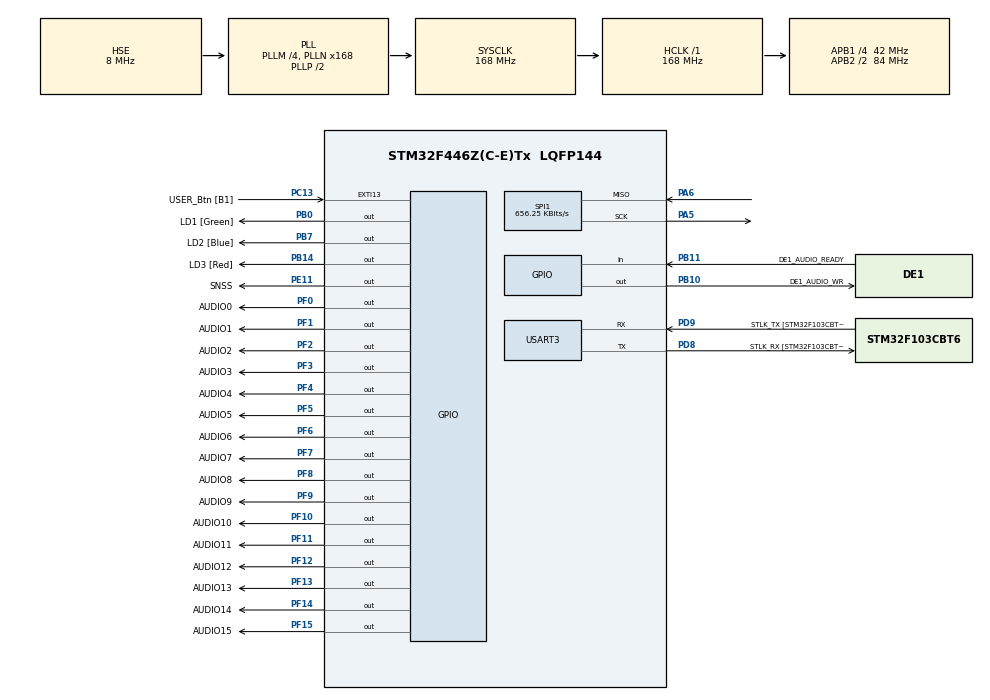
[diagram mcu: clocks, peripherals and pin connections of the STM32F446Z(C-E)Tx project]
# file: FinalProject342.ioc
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Mcu.Family=STM32F4
Mcu.Name=STM32F446Z(C-E)Tx
Mcu.Package=LQFP144
NVIC.PriorityGroup=NVIC_PRIORITYGROUP_4
PA10.GPIO_Label=USB_ID
PA10.Signal=USB_OTG_FS_ID
PA11.GPIO_Label=USB_DM
PA11.Signal=USB_OTG_FS_DM
PA12.GPIO_Label=USB_DP
PA12.Signal=USB_OTG_FS_DP
PA13.GPIO_Label=TMS
PA13.Mode=Serial_Wire
PA13.Signal=SYS_JTMS-SWDIO
PA14.GPIO_Label=TCK
PA14.Mode=Serial_Wire
PA14.Signal=SYS_JTCK-SWCLK
PA5.Mode=RX_Only_Simplex_Unidirect_Master
PA5.Signal=SPI1_SCK
PA6.Mode=RX_Only_Simplex_Unidirect_Master
PA6.Signal=SPI1_MISO
PA8.GPIO_Label=USB_SOF [TP1]
PA8.Signal=USB_OTG_FS_SOF
PA9.GPIO_Label=USB_VBUS
PA9.Signal=USB_OTG_FS_VBUS
PB0.GPIO_Label=LD1 [Green]
PB0.Signal=GPIO_Output
PB10.GPIO_Label=DE1_AUDIO_WR
PB10.GPIO_ModeDefaultOutputPP=GPIO_MODE_OUTPUT_OD
PB10.GPIO_PuPd=GPIO_NOPULL
PB10.GPIO_Speed=GPIO_SPEED_FREQ_VERY_HIGH
PB10.Signal=GPIO_Output
PB11.GPIO_Label=DE1_AUDIO_READY
PB11.Signal=GPIO_Input
PB14.GPIO_Label=LD3 [Red]
PB14.Signal=GPIO_Output
PB7.GPIO_Label=LD2 [Blue]
PB7.Signal=GPIO_Output
PC13.GPIO_Label=USER_Btn [B1]
PC13.Signal=GPXTI13
PC14-OSC32_IN.Mode=LSE-External-Oscillator
PC14-OSC32_IN.Signal=RCC_OSC32_IN
PC15-OSC32_OUT.Mode=LSE-External-Oscillator
PC15-OSC32_OUT.Signal=RCC_OSC32_OUT
PD8.GPIO_Label=STLK_RX [STM32F103CBT6_PA3]
PD8.Mode=Asynchronous
PD8.Signal=USART3_TX
PD9.GPIO_Label=STLK_TX [STM32F103CBT6_PA2]
PD9.Mode=Asynchronous
PD9.Signal=USART3_RX
PE11.GPIO_Label=SNSS
PE11.GPIO_ModeDefaultOutputPP=GPIO_MODE_OUTPUT_OD
PE11.GPIO_PuPd=GPIO_NOPULL
PE11.GPIO_Speed=GPIO_SPEED_FREQ_VERY_HIGH
PE11.Signal=GPIO_Output
PF0.GPIO_Label=AUDIO0
PF0.GPIO_ModeDefaultOutputPP=GPIO_MODE_OUTPUT_OD
PF0.GPIO_PuPd=GPIO_NOPULL
PF0.GPIO_Speed=GPIO_SPEED_FREQ_VERY_HIGH
PF0.Signal=GPIO_Output
PF1.GPIO_Label=AUDIO1
PF1.GPIO_ModeDefaultOutputPP=GPIO_MODE_OUTPUT_OD
PF1.GPIO_PuPd=GPIO_NOPULL
PF1.GPIO_Speed=GPIO_SPEED_FREQ_VERY_HIGH
PF1.Signal=GPIO_Output
PF10.GPIO_Label=AUDIO10
PF10.GPIO_ModeDefaultOutputPP=GPIO_MODE_OUTPUT_OD
PF10.GPIO_PuPd=GPIO_NOPULL
PF10.GPIO_Speed=GPIO_SPEED_FREQ_VERY_HIGH
PF10.Signal=GPIO_Output
PF11.GPIO_Label=AUDIO11
PF11.GPIO_ModeDefaultOutputPP=GPIO_MODE_OUTPUT_OD
PF11.GPIO_PuPd=GPIO_NOPULL
PF11.GPIO_Speed=GPIO_SPEED_FREQ_VERY_HIGH
PF11.Signal=GPIO_Output
PF12.GPIO_Label=AUDIO12
PF12.GPIO_ModeDefaultOutputPP=GPIO_MODE_OUTPUT_OD
PF12.GPIO_PuPd=GPIO_NOPULL
PF12.GPIO_Speed=GPIO_SPEED_FREQ_VERY_HIGH
PF12.Signal=GPIO_Output
PF13.GPIO_Label=AUDIO13
PF13.GPIO_ModeDefaultOutputPP=GPIO_MODE_OUTPUT_OD
PF13.GPIO_PuPd=GPIO_NOPULL
PF13.GPIO_Speed=GPIO_SPEED_FREQ_VERY_HIGH
PF13.Signal=GPIO_Output
PF14.GPIO_Label=AUDIO14
PF14.GPIO_ModeDefaultOutputPP=GPIO_MODE_OUTPUT_OD
PF14.GPIO_PuPd=GPIO_NOPULL
PF14.GPIO_Speed=GPIO_SPEED_FREQ_VERY_HIGH
PF14.Signal=GPIO_Output
PF15.GPIO_Label=AUDIO15
PF15.GPIO_ModeDefaultOutputPP=GPIO_MODE_OUTPUT_OD
PF15.GPIO_PuPd=GPIO_NOPULL
PF15.GPIO_Speed=GPIO_SPEED_FREQ_VERY_HIGH
PF15.Signal=GPIO_Output
PF2.GPIO_Label=AUDIO2
PF2.GPIO_ModeDefaultOutputPP=GPIO_MODE_OUTPUT_OD
PF2.GPIO_PuPd=GPIO_NOPULL
PF2.GPIO_Speed=GPIO_SPEED_FREQ_VERY_HIGH
PF2.Signal=GPIO_Output
PF3.GPIO_Label=AUDIO3
PF3.GPIO_ModeDefaultOutputPP=GPIO_MODE_OUTPUT_OD
PF3.GPIO_PuPd=GPIO_NOPULL
PF3.GPIO_Speed=GPIO_SPEED_FREQ_VERY_HIGH
PF3.Signal=GPIO_Output
PF4.GPIO_Label=AUDIO4
PF4.GPIO_ModeDefaultOutputPP=GPIO_MODE_OUTPUT_OD
PF4.GPIO_PuPd=GPIO_NOPULL
PF4.GPIO_Speed=GPIO_SPEED_FREQ_VERY_HIGH
PF4.Signal=GPIO_Output
PF5.GPIO_Label=AUDIO5
PF5.GPIO_ModeDefaultOutputPP=GPIO_MODE_OUTPUT_OD
PF5.GPIO_PuPd=GPIO_NOPULL
PF5.GPIO_Speed=GPIO_SPEED_FREQ_VERY_HIGH
PF5.Signal=GPIO_Output
PF6.GPIO_Label=AUDIO6
PF6.GPIO_ModeDefaultOutputPP=GPIO_MODE_OUTPUT_OD
PF6.GPIO_PuPd=GPIO_NOPULL
PF6.GPIO_Speed=GPIO_SPEED_FREQ_VERY_HIGH
PF6.Signal=GPIO_Output
PF7.GPIO_Label=AUDIO7
PF7.GPIO_ModeDefaultOutputPP=GPIO_MODE_OUTPUT_OD
PF7.GPIO_PuPd=GPIO_NOPULL
PF7.GPIO_Speed=GPIO_SPEED_FREQ_VERY_HIGH
PF7.Signal=GPIO_Output
PF8.GPIO_Label=AUDIO8
PF8.GPIO_ModeDefaultOutputPP=GPIO_MODE_OUTPUT_OD
PF8.GPIO_PuPd=GPIO_NOPULL
PF8.GPIO_Speed=GPIO_SPEED_FREQ_VERY_HIGH
PF8.Signal=GPIO_Output
PF9.GPIO_Label=AUDIO9
PF9.GPIO_ModeDefaultOutputPP=GPIO_MODE_OUTPUT_OD
PF9.GPIO_PuPd=GPIO_NOPULL
PF9.GPIO_Speed=GPIO_SPEED_FREQ_VERY_HIGH
PF9.Signal=GPIO_Output
PH0-OSC_IN.GPIO_Label=MCO [STM32F103CBT6_PA8]
PH0-OSC_IN.Mode=HSE-External-Clock-Source
PH0-OSC_IN.Signal=RCC_OSC_IN
PH1-OSC_OUT.Mode=HSE-External-Clock-Source
PH1-OSC_OUT.Signal=RCC_OSC_OUT
ProjectManager.HeapSize=0x200
ProjectManager.StackSize=0x400
ProjectManager.TargetToolchain=STM32CubeIDE
RCC.48MHZClocksFreq_Value=24000000
RCC.AHBFreq_Value=168000000
RCC.APB1CLKDivider=RCC_HCLK_DIV4
RCC.APB1Freq_Value=42000000
RCC.APB1TimFreq_Value=84000000
RCC.APB2CLKDivider=RCC_HCLK_DIV2
RCC.APB2Freq_Value=84000000
RCC.APB2TimFreq_Value=168000000
RCC.CortexFreq_Value=168000000
RCC.HCLKFreq_Value=168000000
RCC.HSE_VALUE=8000000
RCC.HSI_VALUE=16000000
RCC.PLLM=4
RCC.PLLMUL=RCC_PLL_MUL9
RCC.PLLN=168
RCC.PLLQ=7
RCC.PLLSourceVirtual=RCC_PLLSOURCE_HSE
RCC.PRESCALERUSB=RCC_USBCLKSOURCE_PLL_DIV1_5
RCC.SYSCLKFreq_VALUE=168000000
RCC.SYSCLKSource=RCC_SYSCLKSOURCE_PLLCLK
RCC.SYSCLKSourceVirtual=RCC_SYSCLKSOURCE_PLLCLK
RCC.USBFreq_Value=48000000
RCC.VCOOutputFreq_Value=336000000
SPI1.BaudRatePrescaler=SPI_BAUDRATEPRESCALER_128
SPI1.CLKPhase=SPI_PHASE_1EDGE
SPI1.CLKPolarity=SPI_POLARITY_LOW
SPI1.CalculateBaudRate=656.25 KBits/s
SPI1.DataSize=SPI_DATASIZE_16BIT
SPI1.Direction=SPI_DIRECTION_2LINES_RXONLY
SPI1.FirstBit=SPI_FIRSTBIT_MSB
SPI1.Mode=SPI_MODE_MASTER
SPI1.VirtualType=VM_MASTER
TIM1.AutoReloadPreload=TIM_AUTORELOAD_PRELOAD_ENABLE
TIM1.Period=0xffff-1
TIM1.Prescaler=72-1
USART3.VirtualMode=VM_ASYNC
VP_TIM1_VS_ClockSourceINT.Mode=Internal
board=NUCLEO-F446ZE

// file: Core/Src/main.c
/* USER CODE BEGIN Header */
/**
  ******************************************************************************
  * @file           : main.c
  * @brief          : Main program body
  ******************************************************************************
  * @attention
  *
  * Copyright (c) 2023 STMicroelectronics.
  * All rights reserved.
  *
  * This software is licensed under terms that can be found in the LICENSE file
  * in the root directory of this software component.
  * If no LICENSE file comes with this software, it is provided AS-IS.
  *
  ******************************************************************************
  */
/* USER CODE END Header */
#include "main.h"

/* USER CODE BEGIN Includes */
#include <stdio.h>
#include <string.h>
//#include "usb_host.h"
//#include "fatfs.h"
//#include "usb_conf.h"
/* USER CODE END Includes */

SPI_HandleTypeDef hspi1;

TIM_HandleTypeDef htim1;

UART_HandleTypeDef huart3;

void SystemClock_Config(void);
static void MX_GPIO_Init(void);
static void MX_USART3_UART_Init(void);
static void MX_SPI1_Init(void);
static void MX_TIM1_Init(void);

/* USER CODE BEGIN 0 */

#define PIN_LOW_BSSR(pin) ((uint32_t)pin << 16U)
#define PIN_HIGH_BSSR(pin) (pin)

void delay_us(uint16_t us)
{
	__HAL_TIM_SET_COUNTER(&htim1, 0);
	while (__HAL_TIM_GET_COUNTER(&htim1) < us);
}

int16_t get_spi_word(void)
{
	uint16_t data;

	// hal_readpin(), hal_spi_receive() etc. are miserably slow.
	// This code does the same thing faster

	SNSS_GPIO_Port->BSRR = PIN_LOW_BSSR(SNSS_Pin); // write_pin(low)

	hspi1.State       = HAL_SPI_STATE_BUSY_RX;
	hspi1.ErrorCode   = HAL_SPI_ERROR_NONE;
	hspi1.pRxBuffPtr  = (uint8_t *)&data;
	hspi1.RxXferSize  = 1;
	hspi1.RxXferCount = 1;
	hspi1.pTxBuffPtr  = (uint8_t *)NULL;
	hspi1.TxXferSize  = 0U;
	hspi1.TxXferCount = 0U;
	hspi1.RxISR       = NULL;
	hspi1.TxISR       = NULL;

	__HAL_SPI_ENABLE(&hspi1);
	while (!__HAL_SPI_GET_FLAG(&hspi1, SPI_FLAG_RXNE)); // wait for data

	data = (uint16_t)hspi1.Instance->DR;
	hspi1.pRxBuffPtr += sizeof(uint16_t);
	hspi1.RxXferCount--;

	__HAL_SPI_DISABLE(&hspi1);
	while (__HAL_SPI_GET_FLAG(&hspi1, SPI_FLAG_RXNE)); // wait for buffer clear

	SNSS_GPIO_Port->BSRR = PIN_HIGH_BSSR(SNSS_Pin); // write_pin(high)

	hspi1.State = HAL_SPI_STATE_READY;

	//SNSS_GPIO_Port->BSRR = PIN_LOW_BSSR(SNSS_Pin);
	//while(hspi1.State == HAL_SPI_STATE_BUSY);
	//HAL_SPI_Receive(&hspi1, &data[1], 1, 100);
	//SNSS_GPIO_Port->BSRR = PIN_HIGH_BSSR(SNSS_Pin);

	// sign extend!
	uint16_t ext_data = (data & 0xFFF) | ((data & 0x800) ? 0xF000 : 0);
	//uint16_t data16 = (uint16_t)(data[0] << 8) | data[1];
	//uint16_t ext_data = (data16 & 0xFFF) | ((data16 & 0x800) ? 0xF000 : 0);
	return (int16_t)ext_data;
}

/* USER CODE END 0 */

int main(void)
{

  /* MCU Configuration--------------------------------------------------------*/

  /* Reset of all peripherals, Initializes the Flash interface and the Systick. */
  HAL_Init();

  /* Configure the system clock */
  SystemClock_Config();

  /* Initialize all configured peripherals */
  MX_GPIO_Init();
  MX_USART3_UART_Init();
  MX_SPI1_Init();
  MX_TIM1_Init();
  /* USER CODE BEGIN 2 */

  HAL_TIM_Base_Start(&htim1);
  //int strindex = 0;
  //char strbuf[6000];
  //char strbuf2[100];

  //set CS initially to:
  //HAL_GPIO_WritePin(SNSS_GPIO_Port, SNSS_Pin, GPIO_PIN_SET); // NSS1 Default Set

  //DE1 GPIO data to send
  //HAL_GPIO_WritePin(AUDIO_READY_GPIO_PORT, AUDIO_READY, GPIO_PIN_RESET);
  //HAL_GPIO_WritePin(AUDIO_CLEAR_BUF_GPIO_PORT, AUDIO_CLEAR_BUF, GPIO_PIN_RESET); //set to 0 before sending every NUMVALS

  /*
  HAL_GPIO_WritePin(AUDIO_GPIO_PINS_0_3_PORT, AUDIO_GPIO_0, GPIO_PIN_RESET);
  HAL_GPIO_WritePin(AUDIO_GPIO_PINS_0_3_PORT, AUDIO_GPIO_1, GPIO_PIN_RESET);
  HAL_GPIO_WritePin(AUDIO_GPIO_PINS_0_3_PORT, AUDIO_GPIO_2, GPIO_PIN_RESET);
  HAL_GPIO_WritePin(AUDIO_GPIO_PINS_0_3_PORT, AUDIO_GPIO_3, GPIO_PIN_RESET);

  HAL_GPIO_WritePin(AUDIO_GPIO_PINS_4_8_PORT, AUDIO_GPIO_4, GPIO_PIN_RESET);
  HAL_GPIO_WritePin(AUDIO_GPIO_PINS_4_8_PORT, AUDIO_GPIO_5, GPIO_PIN_RESET);
  HAL_GPIO_WritePin(AUDIO_GPIO_PINS_4_8_PORT, AUDIO_GPIO_6, GPIO_PIN_RESET);
  HAL_GPIO_WritePin(AUDIO_GPIO_PINS_4_8_PORT, AUDIO_GPIO_7, GPIO_PIN_RESET);

  HAL_GPIO_WritePin(AUDIO_GPIO_PINS_4_8_PORT, AUDIO_GPIO_8, GPIO_PIN_RESET);
  HAL_GPIO_WritePin(AUDIO_GPIO_PINS_9_11_PORT, AUDIO_GPIO_9, GPIO_PIN_RESET);
  HAL_GPIO_WritePin(AUDIO_GPIO_PINS_9_11_PORT, AUDIO_GPIO_10, GPIO_PIN_RESET);
  HAL_GPIO_WritePin(AUDIO_GPIO_PINS_9_11_PORT, AUDIO_GPIO_11, GPIO_PIN_RESET);

  HAL_GPIO_WritePin(AUDIO_GPIO_PIN_12_PORT, AUDIO_GPIO_12, GPIO_PIN_RESET);
  HAL_GPIO_WritePin(AUDIO_GPIO_PINS_13_14_PORT, AUDIO_GPIO_13, GPIO_PIN_RESET);
  HAL_GPIO_WritePin(AUDIO_GPIO_PINS_13_14_PORT, AUDIO_GPIO_14, GPIO_PIN_RESET);
  HAL_GPIO_WritePin(AUDIO_GPIO_PIN_15_PORT, AUDIO_GPIO_15, GPIO_PIN_RESET);

  HAL_GPIO_WritePin(AUDIO_WRITE_AND_ENABLE_GPIO_PORT, AUDIO_WRITE, GPIO_PIN_RESET);
  HAL_GPIO_WritePin(AUDIO_WRITE_AND_ENABLE_GPIO_PORT, AUDIO_ENABLE, GPIO_PIN_SET);

  HAL_GPIO_WritePin(TEST_PIN_GPIO_Port, TEST_PIN_Pin, GPIO_PIN_RESET);
  */

  //128 samples per buffer

//#define NUM_VALS 7988
#define NUM_VALS 128
  int vindex = 0;
  int16_t values[NUM_VALS];
  //const uint16_t* values = ding_pcm;

  //memset(values + 1, 0x00, sizeof(uint16_t) * (NUM_VALS - 2));
  //values[0] = 0x7fff;
    //values[NUM_VALS /2] = 0x3456;
    //values[NUM_VALS - 1] = 0xfeee;

  //memset(values, 0x10//, sizeof(uint16_t) * 64);
  //memset(values + 64, 0x01, sizeof(uint16_t) * 64);

  int strindex = 0;
  char strbuf[7 * NUM_VALS];

  /* USER CODE END 2 */

  /* Infinite loop */
  while (1)
  {

    /* USER CODE BEGIN 3 */

	while(vindex <= NUM_VALS)
	{
		//SNSS_GPIO_Port->BSRR = PIN_LOW_BSSR(SNSS_Pin); // nss1 low
		//HAL_GPIO_WritePin(SNSS_GPIO_Port, SNSS_Pin, GPIO_PIN_RESET); // NSS1 low
		//GPIO_PinState bit0 = HAL_GPIO_ReadPin(SPI_SNSS_GPIO_Port, SPI_SNSS_Pin);
		//if(audio_ready_bit == GPIO_PIN_RESET){HAL_UART_Transmit(&huart3, (uint8_t*)"\nCS = 0:\n", strlen("\nBit 1 = 0:\n"), 100);}
		//	sprintf(strbuf2, "\nCS = 0:\n", bit0);
		//	HAL_UART_Transmit(&huart3, (uint8_t*)strbuf2, strlen(strbuf2), 100);

		//value |= get_spi_byte();
		//value |= get_spi_byte() << 8;
		//HAL_GPIO_WritePin(SNSS_GPIO_Port, SNSS_Pin, GPIO_PIN_SET); // NSS1 low
		//SNSS_GPIO_Port->BSRR = PIN_HIGH_BSSR(SNSS_Pin); // nss1 high

		//sprintf(strbuf, "%d, ", value);
		//HAL_UART_Transmit(&huart3, (uint8_t*)strbuf, strlen(strbuf), 100);

		values[vindex++] = get_spi_word();
		//delay_us(20);
	}

	//while((DE1_AUDIO_READY_GPIO_Port->IDR & DE1_AUDIO_READY_Pin) == 0);

	//AUDIO_CLEAR_BUF_GPIO_PORT->BSRR = PIN_HIGH_BSSR;
	//AUDIO_CLEAR_BUF_GPIO_PORT->BSRR = PIN_LOW_BSSR(AUDIO_CLEAR_BUF);

	// wait until ready
	//while(AUDIO_READY_GPIO_PORT->IDR & AUDIO_READY == 0);

	//HAL_GPIO_WritePin(AUDIO_CLEAR_BUF_GPIO_PORT, AUDIO_CLEAR_BUF, GPIO_PIN_SET); //set to 0 before sending every NUMVALS
			//HAL_Delay(1000);
	// HAL_GPIO_WritePin(AUDIO_CLEAR_BUF_GPIO_PORT, AUDIO_CLEAR_BUF, GPIO_PIN_RESET);
			//while(HAL_GPIO_ReadPin(AUDIO_READY_GPIO_PORT, AUDIO_READY) != GPIO_PIN_SET);

/*
			for (int i = 0; i < NUM_VALS -4; i += 8){
				/*
				  HAL_GPIO_WritePin(AUDIO_WRITE_AND_ENABLE_GPIO_PORT, AUDIO_WRITE, GPIO_PIN_SET);

				  HAL_GPIO_WritePin(AUDIO_GPIO_PINS_0_3_PORT, AUDIO_GPIO_0, values[i] & 0x01 );
				  HAL_GPIO_WritePin(AUDIO_GPIO_PINS_0_3_PORT, AUDIO_GPIO_1, (values[i] & 0x02) >> 1 );
				  HAL_GPIO_WritePin(AUDIO_GPIO_PINS_0_3_PORT, AUDIO_GPIO_2, (values[i] & 0x04) >> 2);
				  HAL_GPIO_WritePin(AUDIO_GPIO_PINS_0_3_PORT, AUDIO_GPIO_3, (values[i] & 0x08) >> 3);

				  HAL_GPIO_WritePin(AUDIO_GPIO_PINS_4_8_PORT, AUDIO_GPIO_4, (values[i] & 0x10) >> 4);
				  HAL_GPIO_WritePin(AUDIO_GPIO_PINS_4_8_PORT, AUDIO_GPIO_5, (values[i] & 0x20) >> 5);
				  HAL_GPIO_WritePin(AUDIO_GPIO_PINS_4_8_PORT, AUDIO_GPIO_6, (values[i] & 0x40) >> 6);
				  HAL_GPIO_WritePin(AUDIO_GPIO_PINS_4_8_PORT, AUDIO_GPIO_7, (values[i] & 0x80) >> 7);

				  HAL_GPIO_WritePin(AUDIO_GPIO_PINS_4_8_PORT, AUDIO_GPIO_8, (values[i] & 0x100) >> 8);
				  HAL_GPIO_WritePin(AUDIO_GPIO_PINS_9_11_PORT, AUDIO_GPIO_9, (values[i] & 0x200) >> 9);
				  HAL_GPIO_WritePin(AUDIO_GPIO_PINS_9_11_PORT, AUDIO_GPIO_10, (values[i] & 0x400) >> 10);
				  HAL_GPIO_WritePin(AUDIO_GPIO_PINS_9_11_PORT, AUDIO_GPIO_11, (values[i] & 0x800) >> 11);

				  HAL_GPIO_WritePin(AUDIO_GPIO_PIN_12_PORT, AUDIO_GPIO_12, (values[i] & 0x1000) >> 12);
				  HAL_GPIO_WritePin(AUDIO_GPIO_PINS_13_14_PORT, AUDIO_GPIO_13, (values[i] & 0x2000) >> 13);
				  HAL_GPIO_WritePin(AUDIO_GPIO_PINS_13_14_PORT, AUDIO_GPIO_14, (values[i] & 0x4000) >> 14);
				  HAL_GPIO_WritePin(AUDIO_GPIO_PIN_15_PORT, AUDIO_GPIO_15, (values[i] & 0x8000) >> 15);

				  HAL_Delay(1000);
				  HAL_GPIO_WritePin(AUDIO_WRITE_AND_ENABLE_GPIO_PORT, AUDIO_WRITE, GPIO_PIN_RESET);

				  //HAL_Delay(50);

				//DE1_AUDIO_WR_GPIO_Port->BSRR = PIN_HIGH_BSSR(DE1_AUDIO_WR_Pin);
				GPIOF->ODR = values[i];
				//DE1_AUDIO_WR_GPIO_Port->BSRR = PIN_LOW_BSSR(DE1_AUDIO_WR_Pin);

				//DE1_AUDIO_WR_GPIO_Port->BSRR = PIN_HIGH_BSSR(DE1_AUDIO_WR_Pin);
				GPIOF->ODR = values[i + 1];
				//DE1_AUDIO_WR_GPIO_Port->BSRR = PIN_LOW_BSSR(DE1_AUDIO_WR_Pin);

				//DE1_AUDIO_WR_GPIO_Port->BSRR = PIN_HIGH_BSSR(DE1_AUDIO_WR_Pin);
				GPIOF->ODR = values[i + 2];
				//DE1_AUDIO_WR_GPIO_Port->BSRR = PIN_LOW_BSSR(DE1_AUDIO_WR_Pin);

				//DE1_AUDIO_WR_GPIO_Port->BSRR = PIN_HIGH_BSSR(DE1_AUDIO_WR_Pin);
				GPIOF->ODR = values[i + 3];
				//DE1_AUDIO_WR_GPIO_Port->BSRR = PIN_LOW_BSSR(DE1_AUDIO_WR_Pin);

				//DE1_AUDIO_WR_GPIO_Port->BSRR = PIN_HIGH_BSSR(DE1_AUDIO_WR_Pin);
				GPIOF->ODR = values[i + 4];
				//DE1_AUDIO_WR_GPIO_Port->BSRR = PIN_LOW_BSSR(DE1_AUDIO_WR_Pin);

				//DE1_AUDIO_WR_GPIO_Port->BSRR = PIN_HIGH_BSSR(DE1_AUDIO_WR_Pin);
				GPIOF->ODR = values[i + 5];
				//DE1_AUDIO_WR_GPIO_Port->BSRR = PIN_LOW_BSSR(DE1_AUDIO_WR_Pin);

				//DE1_AUDIO_WR_GPIO_Port->BSRR = PIN_HIGH_BSSR(DE1_AUDIO_WR_Pin);
				GPIOF->ODR = values[i + 6];
				//DE1_AUDIO_WR_GPIO_Port->BSRR = PIN_LOW_BSSR(DE1_AUDIO_WR_Pin);

				//DE1_AUDIO_WR_GPIO_Port->BSRR = PIN_HIGH_BSSR(DE1_AUDIO_WR_Pin);
				GPIOF->ODR = values[i + 7];
				//DE1_AUDIO_WR_GPIO_Port->BSRR = PIN_LOW_BSSR(DE1_AUDIO_WR_Pin);
			}
			*/

	//bit0 = HAL_GPIO_ReadPin(SPI_SNSS_GPIO_Port, SPI_SNSS_Pin);
	//if(audio_ready_bit == GPIO_PIN_RESET){HAL_UART_Transmit(&huart3, (uint8_t*)"\nCS = 0:\n", strlen("\nBit 1 = 0:\n"), 100);}
	//sprintf(strbuf2, "\nCS = 0:\n", bit0);
	//HAL_UART_Transmit(&huart3, (uint8_t*)strbuf2, strlen(strbuf2), 100);

		//HAL_UART_Transmit(&huart3, (uint8_t*)"\n\nBegin:\n", strlen("\n\nBegin:\n"), 100);
		//CDC_Transmit_FS((uint8_t*)"\n\nBegin:\n", strlen("\n\nBegin:\n"));

		for (int i = 0; i < NUM_VALS; ++i)
			strindex += sprintf(strbuf + strindex, "%hd, ", values[i]);

		//while(HAL_UART_GetState(&huart3) != HAL_UART_STATE_READY);
		HAL_UART_Transmit(&huart3, (uint8_t*)strbuf, strindex, 100);
		//CDC_Transmit_FS((uint8_t*)strbuf, strindex);

		//write buffer to GPIO pins

	strindex = 0;
	vindex = 0;

	//GPIO_PinState audio_ready_bit = HAL_GPIO_ReadPin(AUDIO_READY_GPIO_PORT, AUDIO_READY);

	//GPIO_PinState bit0 = HAL_GPIO_ReadPin(AUDIO_GPIO_PINS_0_3_PORT, AUDIO_GPIO_0);

	/*
	GPIO_PinState bit3 = HAL_GPIO_ReadPin(TEST_GPIO_Port_1, GPIO_PIN_5);
	GPIO_PinState bit4 = HAL_GPIO_ReadPin(TEST_GPIO_Port_1, GPIO_PIN_4);

	GPIO_PinState bit5 = HAL_GPIO_ReadPin(TEST_GPIO_Port_2, GPIO_PIN_2);
	GPIO_PinState bit6 = HAL_GPIO_ReadPin(TEST_GPIO_Port_2, GPIO_PIN_4);
	GPIO_PinState bit7 = HAL_GPIO_ReadPin(TEST_GPIO_Port_2, GPIO_PIN_5);
	GPIO_PinState bit8 = HAL_GPIO_ReadPin(TEST_GPIO_Port_2, GPIO_PIN_6);
	*/

	//if(audio_ready_bit == GPIO_PIN_RESET){HAL_UART_Transmit(&huart3, (uint8_t*)"\nAudio Ready = 0:\n", strlen("\nBit 1 = 0:\n"), 100);}
	//if(bit0 == GPIO_PIN_RESET){HAL_UART_Transmit(&huart3, (uint8_t*)"\nBit 0 = 0:\n", strlen("\nBit 1 = 0:\n"), 100);}
	//HAL_Delay(0);

  }

  /* USER CODE END 3 */
}

void SystemClock_Config(void)
{
  RCC_OscInitTypeDef RCC_OscInitStruct = {0};
  RCC_ClkInitTypeDef RCC_ClkInitStruct = {0};

  /** Configure the main internal regulator output voltage
  */
  __HAL_RCC_PWR_CLK_ENABLE();
  __HAL_PWR_VOLTAGESCALING_CONFIG(PWR_REGULATOR_VOLTAGE_SCALE1);

  /** Initializes the RCC Oscillators according to the specified parameters
  * in the RCC_OscInitTypeDef structure.
  */
  RCC_OscInitStruct.OscillatorType = RCC_OSCILLATORTYPE_HSE;
  RCC_OscInitStruct.HSEState = RCC_HSE_BYPASS;
  RCC_OscInitStruct.PLL.PLLState = RCC_PLL_ON;
  RCC_OscInitStruct.PLL.PLLSource = RCC_PLLSOURCE_HSE;
  RCC_OscInitStruct.PLL.PLLM = 4;
  RCC_OscInitStruct.PLL.PLLN = 168;
  RCC_OscInitStruct.PLL.PLLP = RCC_PLLP_DIV2;
  RCC_OscInitStruct.PLL.PLLQ = 7;
  RCC_OscInitStruct.PLL.PLLR = 2;
  if (HAL_RCC_OscConfig(&RCC_OscInitStruct) != HAL_OK)
  {
    Error_Handler();
  }

  /** Initializes the CPU, AHB and APB buses clocks
  */
  RCC_ClkInitStruct.ClockType = RCC_CLOCKTYPE_HCLK|RCC_CLOCKTYPE_SYSCLK
                              |RCC_CLOCKTYPE_PCLK1|RCC_CLOCKTYPE_PCLK2;
  RCC_ClkInitStruct.SYSCLKSource = RCC_SYSCLKSOURCE_PLLCLK;
  RCC_ClkInitStruct.AHBCLKDivider = RCC_SYSCLK_DIV1;
  RCC_ClkInitStruct.APB1CLKDivider = RCC_HCLK_DIV4;
  RCC_ClkInitStruct.APB2CLKDivider = RCC_HCLK_DIV2;

  if (HAL_RCC_ClockConfig(&RCC_ClkInitStruct, FLASH_LATENCY_5) != HAL_OK)
  {
    Error_Handler();
  }
}

static void MX_SPI1_Init(void)
{

  /* SPI1 parameter configuration*/
  hspi1.Instance = SPI1;
  hspi1.Init.Mode = SPI_MODE_MASTER;
  hspi1.Init.Direction = SPI_DIRECTION_2LINES_RXONLY;
  hspi1.Init.DataSize = SPI_DATASIZE_16BIT;
  hspi1.Init.CLKPolarity = SPI_POLARITY_LOW;
  hspi1.Init.CLKPhase = SPI_PHASE_1EDGE;
  hspi1.Init.NSS = SPI_NSS_SOFT;
  hspi1.Init.BaudRatePrescaler = SPI_BAUDRATEPRESCALER_128;
  hspi1.Init.FirstBit = SPI_FIRSTBIT_MSB;
  hspi1.Init.TIMode = SPI_TIMODE_DISABLE;
  hspi1.Init.CRCCalculation = SPI_CRCCALCULATION_DISABLE;
  hspi1.Init.CRCPolynomial = 10;
  if (HAL_SPI_Init(&hspi1) != HAL_OK)
  {
    Error_Handler();
  }

}

static void MX_TIM1_Init(void)
{

  TIM_ClockConfigTypeDef sClockSourceConfig = {0};
  TIM_MasterConfigTypeDef sMasterConfig = {0};

  htim1.Instance = TIM1;
  htim1.Init.Prescaler = 72-1;
  htim1.Init.CounterMode = TIM_COUNTERMODE_UP;
  htim1.Init.Period = 0xffff-1;
  htim1.Init.ClockDivision = TIM_CLOCKDIVISION_DIV1;
  htim1.Init.RepetitionCounter = 0;
  htim1.Init.AutoReloadPreload = TIM_AUTORELOAD_PRELOAD_ENABLE;
  if (HAL_TIM_Base_Init(&htim1) != HAL_OK)
  {
    Error_Handler();
  }
  sClockSourceConfig.ClockSource = TIM_CLOCKSOURCE_INTERNAL;
  if (HAL_TIM_ConfigClockSource(&htim1, &sClockSourceConfig) != HAL_OK)
  {
    Error_Handler();
  }
  sMasterConfig.MasterOutputTrigger = TIM_TRGO_RESET;
  sMasterConfig.MasterSlaveMode = TIM_MASTERSLAVEMODE_DISABLE;
  if (HAL_TIMEx_MasterConfigSynchronization(&htim1, &sMasterConfig) != HAL_OK)
  {
    Error_Handler();
  }

}

static void MX_USART3_UART_Init(void)
{

  huart3.Instance = USART3;
  huart3.Init.BaudRate = 115200;
  huart3.Init.WordLength = UART_WORDLENGTH_8B;
  huart3.Init.StopBits = UART_STOPBITS_1;
  huart3.Init.Parity = UART_PARITY_NONE;
  huart3.Init.Mode = UART_MODE_TX_RX;
  huart3.Init.HwFlowCtl = UART_HWCONTROL_NONE;
  huart3.Init.OverSampling = UART_OVERSAMPLING_16;
  if (HAL_UART_Init(&huart3) != HAL_OK)
  {
    Error_Handler();
  }

}

static void MX_GPIO_Init(void)
{
  GPIO_InitTypeDef GPIO_InitStruct = {0};

  /* GPIO Ports Clock Enable */
  __HAL_RCC_GPIOC_CLK_ENABLE();
  __HAL_RCC_GPIOF_CLK_ENABLE();
  __HAL_RCC_GPIOH_CLK_ENABLE();
  __HAL_RCC_GPIOA_CLK_ENABLE();
  __HAL_RCC_GPIOB_CLK_ENABLE();
  __HAL_RCC_GPIOE_CLK_ENABLE();
  __HAL_RCC_GPIOD_CLK_ENABLE();

  /*Configure GPIO pin Output Level */
  HAL_GPIO_WritePin(GPIOF, AUDIO0_Pin|AUDIO1_Pin|AUDIO2_Pin|AUDIO3_Pin
                          |AUDIO4_Pin|AUDIO5_Pin|AUDIO6_Pin|AUDIO7_Pin
                          |AUDIO8_Pin|AUDIO9_Pin|AUDIO10_Pin|AUDIO11_Pin
                          |AUDIO12_Pin|AUDIO13_Pin|AUDIO14_Pin|AUDIO15_Pin, GPIO_PIN_RESET);

  /*Configure GPIO pin Output Level */
  HAL_GPIO_WritePin(GPIOB, LD1_Pin|DE1_AUDIO_WR_Pin|LD3_Pin|LD2_Pin, GPIO_PIN_RESET);

  /*Configure GPIO pin Output Level */
  HAL_GPIO_WritePin(SNSS_GPIO_Port, SNSS_Pin, GPIO_PIN_RESET);

  /*Configure GPIO pin : USER_Btn_Pin */
  GPIO_InitStruct.Pin = USER_Btn_Pin;
  GPIO_InitStruct.Mode = GPIO_MODE_IT_RISING;
  GPIO_InitStruct.Pull = GPIO_NOPULL;
  HAL_GPIO_Init(USER_Btn_GPIO_Port, &GPIO_InitStruct);

  /*Configure GPIO pins : AUDIO0_Pin AUDIO1_Pin AUDIO2_Pin AUDIO3_Pin
                           AUDIO4_Pin AUDIO5_Pin AUDIO6_Pin AUDIO7_Pin
                           AUDIO8_Pin AUDIO9_Pin AUDIO10_Pin AUDIO11_Pin
                           AUDIO12_Pin AUDIO13_Pin AUDIO14_Pin AUDIO15_Pin */
  GPIO_InitStruct.Pin = AUDIO0_Pin|AUDIO1_Pin|AUDIO2_Pin|AUDIO3_Pin
                          |AUDIO4_Pin|AUDIO5_Pin|AUDIO6_Pin|AUDIO7_Pin
                          |AUDIO8_Pin|AUDIO9_Pin|AUDIO10_Pin|AUDIO11_Pin
                          |AUDIO12_Pin|AUDIO13_Pin|AUDIO14_Pin|AUDIO15_Pin;
  GPIO_InitStruct.Mode = GPIO_MODE_OUTPUT_OD;
  GPIO_InitStruct.Pull = GPIO_NOPULL;
  GPIO_InitStruct.Speed = GPIO_SPEED_FREQ_VERY_HIGH;
  HAL_GPIO_Init(GPIOF, &GPIO_InitStruct);

  /*Configure GPIO pins : LD1_Pin LD3_Pin LD2_Pin */
  GPIO_InitStruct.Pin = LD1_Pin|LD3_Pin|LD2_Pin;
  GPIO_InitStruct.Mode = GPIO_MODE_OUTPUT_PP;
  GPIO_InitStruct.Pull = GPIO_NOPULL;
  GPIO_InitStruct.Speed = GPIO_SPEED_FREQ_LOW;
  HAL_GPIO_Init(GPIOB, &GPIO_InitStruct);

  /*Configure GPIO pin : SNSS_Pin */
  GPIO_InitStruct.Pin = SNSS_Pin;
  GPIO_InitStruct.Mode = GPIO_MODE_OUTPUT_OD;
  GPIO_InitStruct.Pull = GPIO_NOPULL;
  GPIO_InitStruct.Speed = GPIO_SPEED_FREQ_VERY_HIGH;
  HAL_GPIO_Init(SNSS_GPIO_Port, &GPIO_InitStruct);

  /*Configure GPIO pin : DE1_AUDIO_WR_Pin */
  GPIO_InitStruct.Pin = DE1_AUDIO_WR_Pin;
  GPIO_InitStruct.Mode = GPIO_MODE_OUTPUT_OD;
  GPIO_InitStruct.Pull = GPIO_NOPULL;
  GPIO_InitStruct.Speed = GPIO_SPEED_FREQ_VERY_HIGH;
  HAL_GPIO_Init(DE1_AUDIO_WR_GPIO_Port, &GPIO_InitStruct);

  /*Configure GPIO pin : DE1_AUDIO_READY_Pin */
  GPIO_InitStruct.Pin = DE1_AUDIO_READY_Pin;
  GPIO_InitStruct.Mode = GPIO_MODE_INPUT;
  GPIO_InitStruct.Pull = GPIO_NOPULL;
  HAL_GPIO_Init(DE1_AUDIO_READY_GPIO_Port, &GPIO_InitStruct);

  /*Configure GPIO pins : USB_SOF_Pin USB_ID_Pin USB_DM_Pin USB_DP_Pin */
  GPIO_InitStruct.Pin = USB_SOF_Pin|USB_ID_Pin|USB_DM_Pin|USB_DP_Pin;
  GPIO_InitStruct.Mode = GPIO_MODE_AF_PP;
  GPIO_InitStruct.Pull = GPIO_NOPULL;
  GPIO_InitStruct.Speed = GPIO_SPEED_FREQ_VERY_HIGH;
  GPIO_InitStruct.Alternate = GPIO_AF10_OTG_FS;
  HAL_GPIO_Init(GPIOA, &GPIO_InitStruct);

  /*Configure GPIO pin : USB_VBUS_Pin */
  GPIO_InitStruct.Pin = USB_VBUS_Pin;
  GPIO_InitStruct.Mode = GPIO_MODE_INPUT;
  GPIO_InitStruct.Pull = GPIO_NOPULL;
  HAL_GPIO_Init(USB_VBUS_GPIO_Port, &GPIO_InitStruct);

}

void Error_Handler(void)
{
  __disable_irq();
  while (1)
  {
  }
}
